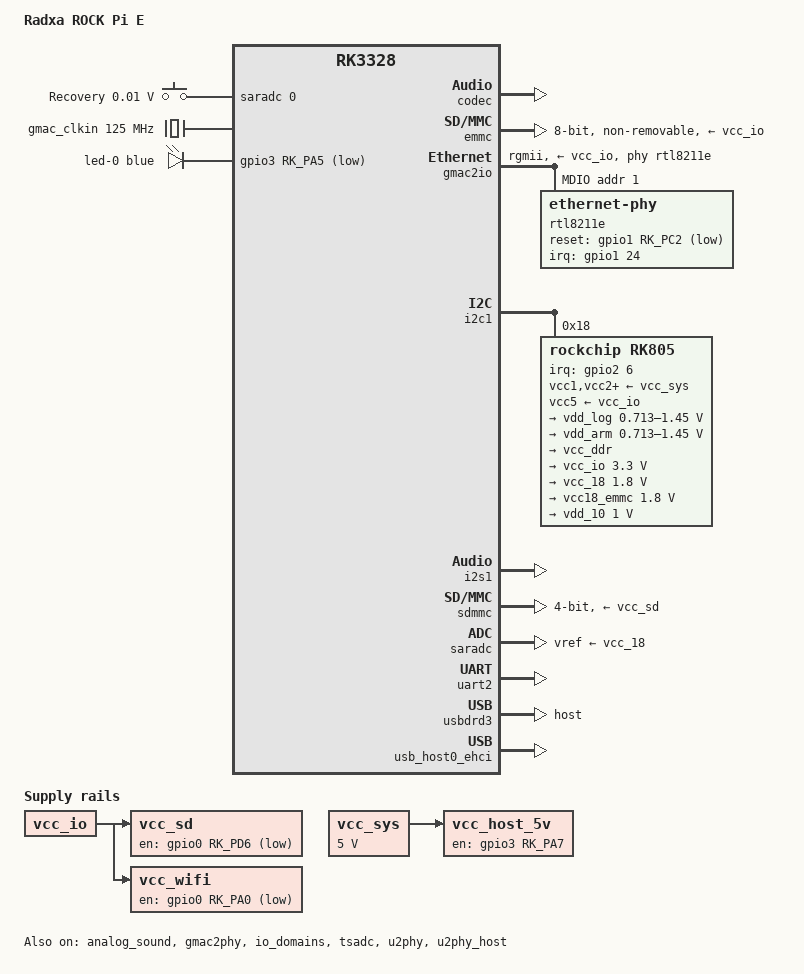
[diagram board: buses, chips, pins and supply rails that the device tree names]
// SPDX-License-Identifier: (GPL-2.0+ OR MIT)
/*
 * (C) Copyright 2020 Chen-Yu Tsai <wens@csie.org>
 *
 * Based on ./rk3328-rock64.dts, which is
 *
 * Copyright (c) 2017 PINE64
 */

/dts-v1/;

#include <dt-bindings/gpio/gpio.h>
#include <dt-bindings/input/input.h>
#include <dt-bindings/leds/common.h>
#include <dt-bindings/pinctrl/rockchip.h>

#include "rk3328.dtsi"

/ {
	model = "Radxa ROCK Pi E";
	compatible = "radxa,rockpi-e", "rockchip,rk3328";

	aliases {
		ethernet0 = &gmac2io;
		ethernet1 = &gmac2phy;
		mmc0 = &sdmmc;
		mmc1 = &emmc;
	};

	chosen {
		stdout-path = "serial2:1500000n8";
	};

	adc-keys {
		compatible = "adc-keys";
		io-channels = <&saradc 0>;
		io-channel-names = "buttons";
		keyup-threshold-microvolt = <1750000>;

		/* This button is unpopulated out of the factory. */
		button-recovery {
			label = "Recovery";
			linux,code = <KEY_VENDOR>;
			press-threshold-microvolt = <10000>;
		};
	};

	gmac_clkin: external-gmac-clock {
		compatible = "fixed-clock";
		clock-frequency = <125000000>;
		clock-output-names = "gmac_clkin";
		#clock-cells = <0>;
	};

	leds {
		compatible = "gpio-leds";
		pinctrl-0 = <&led_pin>;
		pinctrl-names = "default";

		led-0 {
			color = <LED_COLOR_ID_BLUE>;
			gpios = <&gpio3 RK_PA5 GPIO_ACTIVE_LOW>;
			linux,default-trigger = "heartbeat";
		};
	};

	vcc_sd: sdmmc-regulator {
		compatible = "regulator-fixed";
		gpio = <&gpio0 RK_PD6 GPIO_ACTIVE_LOW>;
		pinctrl-names = "default";
		pinctrl-0 = <&sdmmc0m1_pin>;
		regulator-name = "vcc_sd";
		regulator-boot-on;
		vin-supply = <&vcc_io>;
	};

	vcc_host_5v: vcc-host-5v-regulator {
		compatible = "regulator-fixed";
		gpio = <&gpio3 RK_PA7 GPIO_ACTIVE_HIGH>;
		pinctrl-names = "default";
		pinctrl-0 = <&usb30_host_drv>;
		enable-active-high;
		regulator-name = "vcc_host_5v";
		regulator-always-on;
		regulator-boot-on;
		vin-supply = <&vcc_sys>;
	};

	vcc_sys: vcc-sys {
		compatible = "regulator-fixed";
		regulator-name = "vcc_sys";
		regulator-always-on;
		regulator-boot-on;
		regulator-min-microvolt = <5000000>;
		regulator-max-microvolt = <5000000>;
	};

	vcc_wifi: vcc-wifi-regulator {
		compatible = "regulator-fixed";
		gpio = <&gpio0 RK_PA0 GPIO_ACTIVE_LOW>;
		pinctrl-names = "default";
		pinctrl-0 = <&wifi_en>;
		regulator-name = "vcc_wifi";
		regulator-always-on;
		regulator-boot-on;
		vin-supply = <&vcc_io>;
	};
};

&analog_sound {
	status = "okay";
};

&codec {
	status = "okay";
};

&cpu0 {
	cpu-supply = <&vdd_arm>;
};

&cpu1 {
	cpu-supply = <&vdd_arm>;
};

&cpu2 {
	cpu-supply = <&vdd_arm>;
};

&cpu3 {
	cpu-supply = <&vdd_arm>;
};

&emmc {
	bus-width = <8>;
	cap-mmc-highspeed;
	mmc-ddr-1_8v;
	mmc-hs200-1_8v;
	non-removable;
	pinctrl-names = "default";
	pinctrl-0 = <&emmc_clk>, <&emmc_cmd>, <&emmc_bus8>;
	vmmc-supply = <&vcc_io>;
	vqmmc-supply = <&vcc18_emmc>;
	status = "okay";
};

&gmac2io {
	assigned-clocks = <&cru SCLK_MAC2IO>, <&cru SCLK_MAC2IO_EXT>;
	assigned-clock-parents = <&gmac_clkin>, <&gmac_clkin>;
	clock_in_out = "input";
	phy-handle = <&rtl8211e>;
	phy-mode = "rgmii";
	phy-supply = <&vcc_io>;
	pinctrl-names = "default";
	pinctrl-0 = <&rgmiim1_pins>;
	snps,aal;
	snps,rxpbl = <0x4>;
	snps,txpbl = <0x4>;
	tx_delay = <0x26>;
	rx_delay = <0x11>;
	status = "okay";

	mdio {
		compatible = "snps,dwmac-mdio";
		#address-cells = <1>;
		#size-cells = <0>;

		rtl8211e: ethernet-phy@1 {
			reg = <1>;
			pinctrl-0 = <&eth_phy_int_pin>, <&eth_phy_reset_pin>;
			pinctrl-names = "default";
			interrupt-parent = <&gpio1>;
			interrupts = <24 IRQ_TYPE_LEVEL_LOW>;
			reset-assert-us = <10000>;
			reset-deassert-us = <50000>;
			reset-gpios = <&gpio1 RK_PC2 GPIO_ACTIVE_LOW>;
		};
	};
};

&gmac2phy {
	status = "okay";
};

&gpio0 {
	gpio-line-names =
		/* GPIO0_A0 - A7 */
		"", "", "", "", "", "", "", "",
		/* GPIO0_B0 - B7 */
		"", "", "", "", "", "", "", "",
		/* GPIO0_C0 - C7 */
		"", "", "", "", "", "", "", "",
		/* GPIO0_D0 - D7 */
		"", "", "", "pin-15 [GPIO0_D3]", "", "", "", "";
};

&gpio1 {
	gpio-line-names =
		/* GPIO1_A0 - A7 */
		"", "", "", "", "", "", "", "",
		/* GPIO1_B0 - B7 */
		"", "", "", "", "", "", "", "",
		/* GPIO1_C0 - C7 */
		"", "", "", "", "", "", "", "",
		/* GPIO1_D0 - D7 */
		"", "", "", "", "pin-07 [GPIO1_D4]", "", "", "";
};

&gpio2 {
	gpio-line-names =
		/* GPIO2_A0 - A7 */
		"pin-08 [GPIO2_A0]", "pin-10 [GPIO2_A1]", "pin-11 [GPIO2_A2]",
		"pin-13 [GPIO2-A3]", "pin-27 [GPIO2_A4]", "pin-28 [GPIO2_A5]",
		"pin-33 [GPIO2_A6]", "",
		/* GPIO2_B0 - B7 */
		"", "", "", "", "pin-26 [GPIO2_B4]", "", "", "pin-36 [GPIO2_B7]",
		/* GPIO2_C0 - C7 */
		"pin-32 [GPIO2_C0]", "pin-35 [GPIO2_C1]", "pin-12 [GPIO2_C2]",
		"pin-38 [GPIO2_C3]", "pin-29 [GPIO2_C4]", "pin-31 [GPIO2_C5]",
		"pin-37 [GPIO2_C6]", "pin-40 [GPIO2_C7]",
		/* GPIO2_D0 - D7 */
		"", "", "", "", "", "", "", "";
};

&gpio3 {
	gpio-line-names =
		/* GPIO3_A0 - A7 */
		"pin-23 [GPIO3_A0]", "pin-19 [GPIO3_A1]", "pin-21 [GPIO3_A2]",
		"", "pin-03 [GPIO3_A4]", "", "pin-05 [GPIO3_A6]", "",
		/* GPIO3_B0 - B7 */
		"pin-24 [GPIO3_B0]", "", "", "", "", "", "", "",
		/* GPIO3_C0 - C7 */
		"", "", "", "", "", "", "", "",
		/* GPIO3_D0 - D7 */
		"", "", "", "", "", "", "", "";
};

&i2c1 {
	status = "okay";

	rk805: pmic@18 {
		compatible = "rockchip,rk805";
		reg = <0x18>;
		interrupt-parent = <&gpio2>;
		interrupts = <6 IRQ_TYPE_LEVEL_LOW>;
		#clock-cells = <1>;
		clock-output-names = "xin32k", "rk805-clkout2";
		gpio-controller;
		#gpio-cells = <2>;
		pinctrl-names = "default";
		pinctrl-0 = <&pmic_int_l>;
		rockchip,system-power-controller;
		wakeup-source;

		vcc1-supply = <&vcc_sys>;
		vcc2-supply = <&vcc_sys>;
		vcc3-supply = <&vcc_sys>;
		vcc4-supply = <&vcc_sys>;
		vcc5-supply = <&vcc_io>;
		vcc6-supply = <&vcc_sys>;

		regulators {
			vdd_log: DCDC_REG1 {
				regulator-name = "vdd_log";
				regulator-always-on;
				regulator-boot-on;
				regulator-min-microvolt = <712500>;
				regulator-max-microvolt = <1450000>;
				regulator-ramp-delay = <12500>;

				regulator-state-mem {
					regulator-on-in-suspend;
					regulator-suspend-microvolt = <1000000>;
				};
			};

			vdd_arm: DCDC_REG2 {
				regulator-name = "vdd_arm";
				regulator-always-on;
				regulator-boot-on;
				regulator-min-microvolt = <712500>;
				regulator-max-microvolt = <1450000>;
				regulator-ramp-delay = <12500>;

				regulator-state-mem {
					regulator-on-in-suspend;
					regulator-suspend-microvolt = <950000>;
				};
			};

			vcc_ddr: DCDC_REG3 {
				regulator-name = "vcc_ddr";
				regulator-always-on;
				regulator-boot-on;

				regulator-state-mem {
					regulator-on-in-suspend;
				};
			};

			vcc_io: DCDC_REG4 {
				regulator-name = "vcc_io";
				regulator-always-on;
				regulator-boot-on;
				regulator-min-microvolt = <3300000>;
				regulator-max-microvolt = <3300000>;

				regulator-state-mem {
					regulator-on-in-suspend;
					regulator-suspend-microvolt = <3300000>;
				};
			};

			vcc_18: LDO_REG1 {
				regulator-name = "vcc_18";
				regulator-always-on;
				regulator-boot-on;
				regulator-min-microvolt = <1800000>;
				regulator-max-microvolt = <1800000>;

				regulator-state-mem {
					regulator-on-in-suspend;
					regulator-suspend-microvolt = <1800000>;
				};
			};

			vcc18_emmc: LDO_REG2 {
				regulator-name = "vcc18_emmc";
				regulator-always-on;
				regulator-boot-on;
				regulator-min-microvolt = <1800000>;
				regulator-max-microvolt = <1800000>;

				regulator-state-mem {
					regulator-on-in-suspend;
					regulator-suspend-microvolt = <1800000>;
				};
			};

			vdd_10: LDO_REG3 {
				regulator-name = "vdd_10";
				regulator-always-on;
				regulator-boot-on;
				regulator-min-microvolt = <1000000>;
				regulator-max-microvolt = <1000000>;

				regulator-state-mem {
					regulator-on-in-suspend;
					regulator-suspend-microvolt = <1000000>;
				};
			};
		};
	};
};

&i2s1 {
	status = "okay";
};

&io_domains {
	pmuio-supply = <&vcc_io>;
	vccio1-supply = <&vcc_io>;
	vccio2-supply = <&vcc18_emmc>;
	vccio3-supply = <&vcc_io>;
	vccio4-supply = <&vcc_io>;
	vccio5-supply = <&vcc_io>;
	vccio6-supply = <&vcc_io>;
	status = "okay";
};

&pinctrl {
	ephy {
		eth_phy_int_pin: eth-phy-int-pin {
			rockchip,pins = <1 RK_PD0 RK_FUNC_GPIO &pcfg_pull_down>;
		};

		eth_phy_reset_pin: eth-phy-reset-pin {
			rockchip,pins = <1 RK_PC2 RK_FUNC_GPIO &pcfg_pull_down>;
		};
	};

	leds {
		led_pin: led-pin {
			rockchip,pins = <3 RK_PA5 RK_FUNC_GPIO &pcfg_pull_none>;
		};
	};

	pmic {
		pmic_int_l: pmic-int-l {
			rockchip,pins = <2 RK_PA6 RK_FUNC_GPIO &pcfg_pull_up>;
		};
	};

	usb3 {
		usb30_host_drv: usb30-host-drv {
			rockchip,pins = <3 RK_PA7 RK_FUNC_GPIO &pcfg_pull_none>;
		};
	};

	wifi {
		wifi_en: wifi-en {
			rockchip,pins = <0 RK_PA0 RK_FUNC_GPIO &pcfg_pull_none>;
		};
	};
};

&sdmmc {
	bus-width = <4>;
	cap-sd-highspeed;
	disable-wp;
	pinctrl-names = "default";
	pinctrl-0 = <&sdmmc0_clk>, <&sdmmc0_cmd>, <&sdmmc0_dectn>, <&sdmmc0_bus4>;
	vmmc-supply = <&vcc_sd>;
	status = "okay";
};

&saradc {
	vref-supply = <&vcc_18>;
	status = "okay";
};

&tsadc {
	status = "okay";
};

&u2phy {
	status = "okay";
};

&u2phy_host {
	status = "okay";
};

&uart2 {
	status = "okay";
};

&usbdrd3 {
	dr_mode = "host";
	status = "okay";
};

&usb_host0_ehci {
	status = "okay";
};
